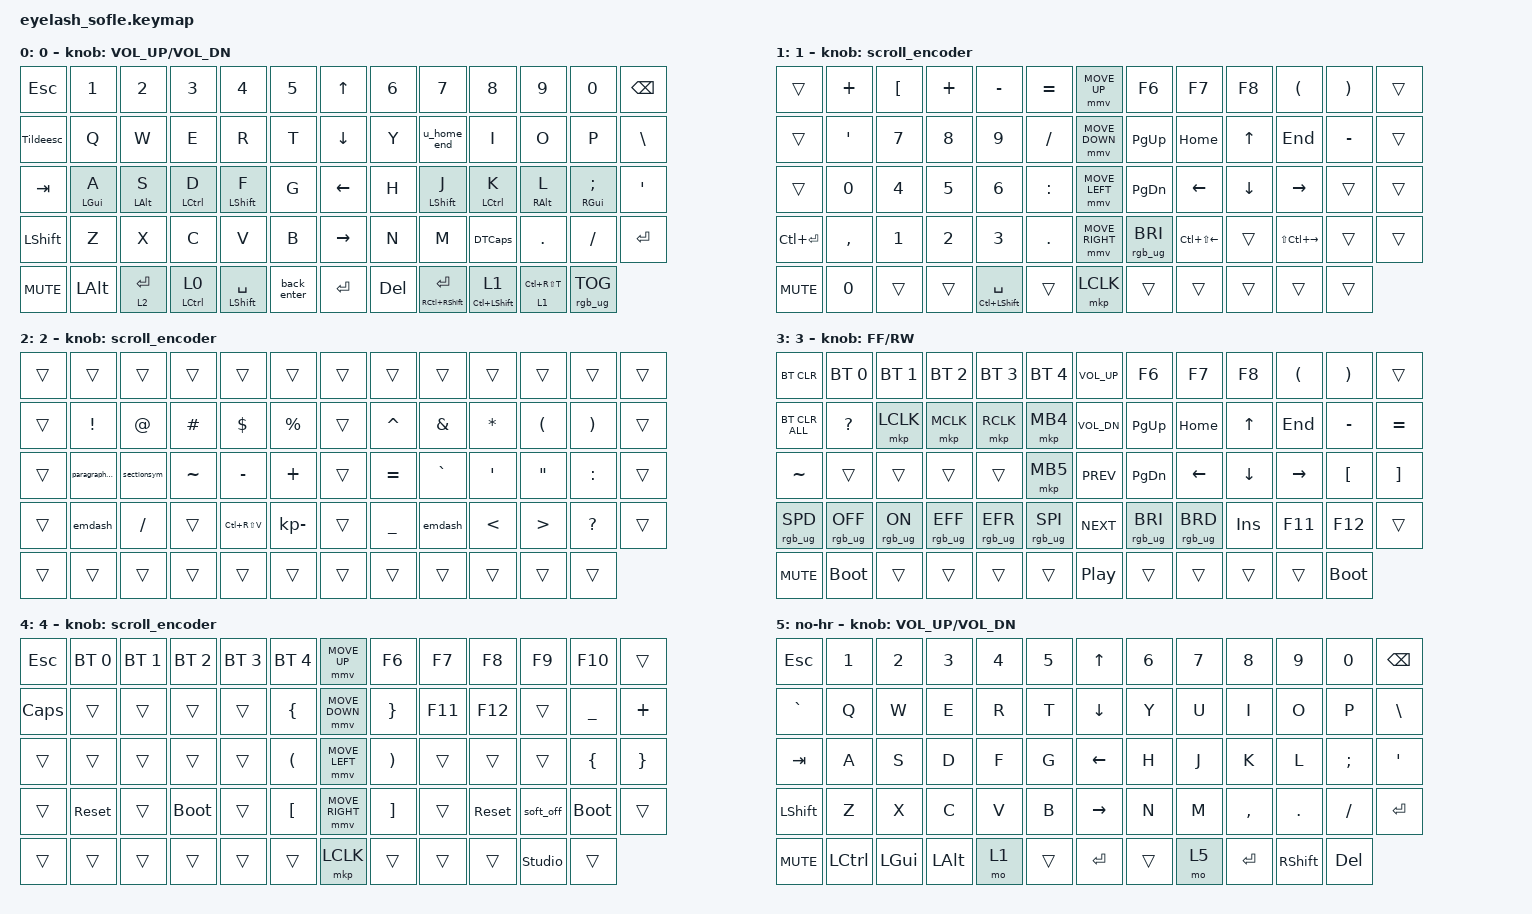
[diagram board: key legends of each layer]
#include <dt-bindings/zmk/mouse.h>
#include <input/processors.dtsi>
#include <behaviors.dtsi>
#include <dt-bindings/zmk/bt.h>
#include <dt-bindings/zmk/keys.h>
#include <dt-bindings/zmk/pointing.h>
#include <dt-bindings/zmk/rgb.h>

/*

   &mmv_input_listener {
       input-processors = <&zip_xy_scaler 2 1>;
   };

   &msc_input_listener {
       input-processors = <&zip_xy_scaler 2 1>;
   };

 */

#define ZMK_MOUSE_DEFAULT_MOVE_VAL 1200  // 600
#define ZMK_MOUSE_DEFAULT_SCRL_VAL 20    // 10

/ {
    behaviors {
        mmv {
            acceleration-exponent = <1>;      // 1
            time-to-max-speed-ms = <900>;    // 40
            delay-ms = <0>;                   // 0
        };

        msc {
            acceleration-exponent = <1>;      // 0
            time-to-max-speed-ms = <400>;      // 500
            delay-ms = <0>;                   //   10
        };
    };

    scroll_encoder: scroll_encoder {
        compatible = "zmk,behavior-sensor-rotate";
        #sensor-binding-cells = <0>;
        bindings = <&msc SCRL_DOWN>, <&msc SCRL_UP>;

        tap-ms = <30>;
    };

    hml: hml {
        compatible = "zmk,behavior-hold-tap";
        label = "HML";
        bindings = <&kp>, <&kp>;

        #binding-cells = <2>;
        tapping-term-ms = <280>;
        quick-tap-ms = <175>;
        require-prior-idle-ms = <150>;
        flavor = "balanced";
        hold-trigger-key-positions = <59 60 46 33 20 7 8 21 8 10 11 12 21 22 23 24 25 34 35 36 37 38 47 48 49 50 51 61 62 63 9>;
        hold-trigger-on-release;
    };

    hmr: hmr {
        compatible = "zmk,behavior-hold-tap";
        label = "HMR";
        bindings = <&kp>, <&kp>;

        #binding-cells = <2>;
        tapping-term-ms = <280>;
        quick-tap-ms = <175>;
        require-prior-idle-ms = <150>;
        flavor = "balanced";
        hold-trigger-key-positions = <0 1 2 3 4 5 13 14 15 16 17 18 26 27 28 29 30 31 39 40 41 42 43 44 53 54 55 56 57 52>;
        hold-trigger-on-release;
    };

    hmmods: hmmods {
        compatible = "zmk,behavior-hold-tap";
        label = "HMMODS";
        bindings = <&kp>, <&kp>;

        #binding-cells = <2>;
        tapping-term-ms = <200>;
        quick-tap-ms = <180>;
        flavor = "tap-preferred";
    };

    hmlayer: hmlayer {
        compatible = "zmk,behavior-hold-tap";
        label = "HMLAYER";
        bindings = <&kp>, <&to>;

        #binding-cells = <2>;
        tapping-term-ms = <200>;
        quick-tap-ms = <180>;
        flavor = "tap-preferred";
    };

    toggle1: toggle1 {
        compatible = "zmk,behavior-toggle-layer";
        label = "TOGGLE1";
        #binding-cells = <1>;
    };

    DTCaps: DTCaps {
        compatible = "zmk,behavior-tap-dance";
        label = "DTCAPS";
        #binding-cells = <0>;
        bindings = <&kp COMMA>, <&caps_word>, <&kp CLCK>;
    };

    DTlayers: DTlayers {
        compatible = "zmk,behavior-tap-dance";
        label = "DTLAYERS";
        #binding-cells = <0>;
        bindings = <&tog 1>, <&tog 2>, <&to 0>;
    };

    brkt: brkt {
        compatible = "zmk,behavior-tap-dance";
        label = "BRKT";
        #binding-cells = <0>;
        bindings = <&kp LEFT_BRACKET>, <&kp RIGHT_BRACKET>;
    };

    paren: paren {
        compatible = "zmk,behavior-tap-dance";
        label = "PAREN";
        #binding-cells = <0>;
        bindings = <&kp LEFT_PARENTHESIS>, <&kp RIGHT_PARENTHESIS>;
    };

    Tildeesc: Tildeesc {
        compatible = "zmk,behavior-tap-dance";
        label = "TILDEESC";
        #binding-cells = <0>;
        bindings = <&kp TILDE>, <&kp ESCAPE>, <&kp LS(LC(ESCAPE))>;
    };

    twolayers: twolayers {
        compatible = "zmk,behavior-hold-tap";
        label = "TWOLAYERS";
        bindings = <&mo>, <&tog>;

        #binding-cells = <2>;
        hold-trigger-key-positions = <61>;
        tapping-term-ms = <100>;
    };

    u_home_end: u_home_end {
        compatible = "zmk,behavior-tap-dance";
        label = "U_HOME_END";
        #binding-cells = <0>;
        bindings = <&kp U>, <&kp HOME>, <&kp END>;
    };

    back_enter: back_enter {
        compatible = "zmk,behavior-tap-dance";
        label = "BACK_ENTER";
        #binding-cells = <0>;
        bindings = <&kp BACKSPACE>, <&kp ENTER>;
    };

    sktog: sktog {
        compatible = "zmk,behavior-hold-tap";
        label = "SKTOG";
        bindings = <&sk>, <&tog>;

        #binding-cells = <2>;
        tapping-term-ms = <200>;
    };

    parasec: parasec {
        compatible = "zmk,behavior-tap-dance";
        label = "PARASEC";
        #binding-cells = <0>;
        bindings = <&paragraphsym>, <&sectionsym>;
    };

    combos {
        compatible = "zmk,combos";

        left_bracket {
            timeout-ms = <50>;
            bindings = <&brkt>;
            key-positions = <43 44>;
        };

        right_bracket {
            timeout-ms = <50>;
            bindings = <&kp RIGHT_BRACKET>;
            key-positions = <46 47>;
        };

        left_paren {
            timeout-ms = <50>;
            bindings = <&paren>;
            key-positions = <30 31>;
        };

        dtlayers {
            timeout-ms = <50>;
            bindings = <&DTlayers>;
            key-positions = <17 18>;
        };

        pipe {
            timeout-ms = <50>;
            bindings = <&kp PIPE>;
            key-positions = <31 33>;
        };

        back_slash {
            timeout-ms = <50>;
            bindings = <&kp BACKSLASH>;
            key-positions = <18 20>;
        };

        layer3 {
            bindings = <&tog 3>;
            key-positions = <55 61>;
        };

        plaintiff {
            bindings = <&plaintiff>;
            key-positions = <14 56>;
        };

        defendant {
            bindings = <&Defendant>;
            key-positions = <15 56>;
        };

        layer0 {
            bindings = <&to 0>;
            key-positions = <56 60>;
        };

        layer1 {
            bindings = <&tog 1>;
            key-positions = <57 59>;
        };

        dash {
            bindings = <&kp MINUS>;
            key-positions = <42 41>;
        };

        capslock {
            bindings = <&kp CLCK>;
            key-positions = <5 4>;
            timeout-ms = <50>;
        };

        emdash {
            bindings = <&emdash>;
            key-positions = <42 56 41>;
        };

        snipping {
            bindings = <&kp LG(LS(S))>;
            key-positions = <28 57>;
        };

        del {
            bindings = <&kp DEL>;
            key-positions = <29 57>;
        };

        specialpaste {
            bindings = <&kp LC(RS(V))>;
            key-positions = <42 43>;
        };

        parasym {
            bindings = <&paragraphsym>;
            key-positions = <56 28 27>;
        };

        sectionsym {
            bindings = <&sectionsym>;
            key-positions = <56 28 29>;
        };

        copy {
            bindings = <&kp K_COPY>;
            key-positions = <42 55>;
        };

        paste {
            bindings = <&kp K_PASTE>;
            key-positions = <55 43>;
        };

        enter {
            bindings = <&kp ENTER>;
            key-positions = <39 56>;
        };

        Ctrl+z {
            bindings = <&kp LC(Z)>;
            key-positions = <40 55>;
        };

        L2 {
            bindings = <&tog 2>;
            key-positions = <21 20>;
            timeout-ms = <50>;
        };

        Lens {
            bindings = <&SearchLens>;
            key-positions = <14 15 16>;
        };

        parasec {
            bindings = <&parasec>;
            key-positions = <33 34>;
        };
    };

    macros {
        paragraphsym: paragraphsym {
            compatible = "zmk,behavior-macro";
            #binding-cells = <0>;
            bindings = <&kt LEFT_ALT &kp KP_NUMBER_0 &kp KP_NUMBER_1 &kp KP_NUMBER_8 &kp KP_NUMBER_2 &kt LALT>;
            label = "paragraphsym";
            tap-ms = <7>;
        };

        sectionsym: sectionsym {
            compatible = "zmk,behavior-macro";
            #binding-cells = <0>;
            bindings = <&kt LEFT_ALT &kp KP_NUMBER_0 &kp KP_NUMBER_1 &kp KP_NUMBER_6 &kp KP_NUMBER_7 &kt LALT>;
            label = "SECTIONSYM";
            tap-ms = <2>;
        };

        emdash: emdash {
            compatible = "zmk,behavior-macro";
            #binding-cells = <0>;
            bindings = <&kt LEFT_ALT &kp KP_NUMBER_0 &kp KP_NUMBER_1 &kp KP_NUMBER_5 &kp KP_NUMBER_1 &kt LALT>;
            label = "EMDASH";
        };

        plaintiff: plaintiff {
            compatible = "zmk,behavior-macro";
            #binding-cells = <0>;
            bindings = <&kp LS(P) &kp L &kp A &kp I &kp N &kp T &kp I &kp F &kp F>;
            label = "PLAINTIFF";
            wait-ms = <0>;
            tap-ms = <5>;
        };

        Defendant: Defendant {
            compatible = "zmk,behavior-macro";
            #binding-cells = <0>;
            bindings = <&kp LS(D) &kp E &kp F &kp E &kp N &kp D &kp A &kp N &kp T>;
            label = "DEFENDANT";
            tap-ms = <2>;
        };

        SearchLens: SearchLens {
            compatible = "zmk,behavior-macro";
            #binding-cells = <0>;
            bindings = <&kp LA(E) &kp S>;
            label = "SEARCHLENS";
        };
    };

    keymap {
        compatible = "zmk,keymap";

        L0 {
            bindings = <
&kp ESC     &kp N1          &kp N2              &kp N3            &kp N4                    &kp N5         &kp UP_ARROW     &kp N6      &kp N7                         &kp N8                   &kp N9               &kp N0                  &kp BACKSPACE
&Tildeesc   &kp Q           &kp W               &kp E             &kp R                     &kp T          &kp DOWN_ARROW   &kp Y       &u_home_end                    &kp I                    &kp O                &kp P                   &kp BSLH
&kp TAB     &hmmods LGUI A  &hmmods LEFT_ALT S  &hmmods LCTRL D   &hmmods LEFT_SHIFT F      &kp G          &kp LEFT_ARROW   &kp H       &hmmods LEFT_SHIFT J           &hmmods LCTRL K          &hmmods RIGHT_ALT L  &hmmods RIGHT_GUI SEMI  &kp APOS
&kp LSHFT   &kp Z           &kp X               &kp C             &kp V                     &kp B          &kp RIGHT_ARROW  &kp N       &kp M                          &DTCaps                  &kp DOT              &kp FSLH                &kp ENTER
&kp C_MUTE  &kp LEFT_ALT    &lt 2 ENTER         &hmlayer LCTRL 0  &hmmods LEFT_SHIFT SPACE  &back_enter    &kp ENTER        &kp DELETE  &hmmods RC(RIGHT_SHIFT) ENTER  &sktog LC(LEFT_SHIFT) 1  &lt 1 LC(RS(T))      &rgb_ug RGB_TOG
            >;

            display-name = "0";
            sensor-bindings = <&inc_dec_kp C_VOLUME_UP C_VOL_DN>;
        };

        L1-num-nav {
            bindings = <
&trans         &kp PLUS   &kp LEFT_BRACKET  &kp PLUS  &kp MINUS                  &kp EQUAL    &mmv MOVE_UP     &kp F6           &kp F7                  &kp F8    &kp LPAR           &kp RPAR   &trans
&trans         &kp SQT    &kp N7            &kp N8    &kp N9                     &kp SLASH    &mmv MOVE_DOWN   &kp PG_UP        &kp HOME                &kp UP    &kp END            &kp MINUS  &trans
&trans         &kp N0     &kp N4            &kp N5    &kp N6                     &kp COLON    &mmv MOVE_LEFT   &kp PG_DN        &kp LEFT                &kp DOWN  &kp RIGHT          &trans     &trans
&kp LC(ENTER)  &kp COMMA  &kp N1            &kp N2    &kp N3                     &kp DOT      &mmv MOVE_RIGHT  &rgb_ug RGB_BRI  &kp LC(LS(LEFT_ARROW))  &trans    &kp LS(LC(RIGHT))  &trans     &trans
&kp C_MUTE     &kp N0     &trans            &trans    &hmr LC(LEFT_SHIFT) SPACE  &trans       &mkp LCLK        &trans           &trans                  &trans    &trans             &trans
            >;

            display-name = "1";
            sensor-bindings = <&scroll_encoder>;
        };

        L2_symbols {
            display-name = "2";
            bindings = <
&trans  &trans         &trans       &trans     &trans         &trans          &trans  &trans          &trans     &trans            &trans             &trans        &trans
&trans  &kp EXCL       &kp AT       &kp POUND  &kp DLLR       &kp PERCENT     &trans  &kp CARET       &kp AMPS   &kp STAR          &kp LPAR           &kp RPAR      &trans
&trans  &paragraphsym  &sectionsym  &kp TILDE  &kp MINUS      &kp PLUS        &trans  &kp EQUAL       &kp GRAVE  &kp SINGLE_QUOTE  &kp DOUBLE_QUOTES  &kp COLON     &trans
&trans  &emdash        &kp SLASH    &trans     &kp LC(RS(V))  &kp KP_MINUS    &trans  &kp UNDERSCORE  &emdash    &kp LESS_THAN     &kp GREATER_THAN   &kp QUESTION  &trans
&trans  &trans         &trans       &trans     &trans         &trans          &trans  &trans          &trans     &trans            &trans             &trans
            >;

            sensor-bindings = <&scroll_encoder>;
        };

        bt-rgb-media {
            display-name = "3";
            bindings = <
&bt BT_CLR       &bt BT_SEL 0     &bt BT_SEL 1    &bt BT_SEL 2     &bt BT_SEL 3     &bt BT_SEL 4       &kp C_VOL_UP      &kp F6           &kp F7           &kp F8      &kp LPAR   &kp RPAR          &trans
&bt BT_CLR_ALL   &kp QMARK        &mkp LCLK       &mkp MCLK        &mkp RCLK        &mkp MB4           &kp C_VOL_DN      &kp PG_UP        &kp HOME         &kp UP      &kp END    &kp MINUS         &kp EQUAL
&kp TILDE        &trans           &trans          &trans           &trans           &mkp MB5           &kp C_PREV        &kp PG_DN        &kp LEFT         &kp DOWN    &kp RIGHT  &kp LEFT_BRACKET  &kp RIGHT_BRACKET
&rgb_ug RGB_SPD  &rgb_ug RGB_OFF  &rgb_ug RGB_ON  &rgb_ug RGB_EFF  &rgb_ug RGB_EFR  &rgb_ug RGB_SPI    &kp C_NEXT        &rgb_ug RGB_BRI  &rgb_ug RGB_BRD  &kp INSERT  &kp F11    &kp F12           &trans
&kp C_MUTE       &bootloader      &trans          &trans           &trans           &trans             &kp C_PLAY_PAUSE  &trans           &trans           &trans      &trans     &bootloader
            >;

            sensor-bindings = <&inc_dec_kp C_FF C_RW>;
        };

        L4 {
            bindings = <
&kp ESC   &bt BT_SEL 0  &bt BT_SEL 1  &bt BT_SEL 2  &bt BT_SEL 3  &bt BT_SEL 4            &mmv MOVE_UP     &kp F6                 &kp F7   &kp F8      &kp F9          &kp F10      &trans
&kp CAPS  &trans        &trans        &trans        &trans        &kp LEFT_BRACE          &mmv MOVE_DOWN   &kp RIGHT_BRACE        &kp F11  &kp F12     &trans          &kp UNDER    &kp PLUS
&trans    &trans        &trans        &trans        &trans        &kp LEFT_PARENTHESIS    &mmv MOVE_LEFT   &kp RIGHT_PARENTHESIS  &trans   &trans      &trans          &kp LBRC     &kp RBRC
&trans    &sys_reset    &trans        &bootloader   &trans        &kp LEFT_BRACKET        &mmv MOVE_RIGHT  &kp RIGHT_BRACKET      &trans   &sys_reset  &soft_off       &bootloader  &trans
&trans    &trans        &trans        &trans        &trans        &trans                  &mkp LCLK        &trans                 &trans   &trans      &studio_unlock  &trans
            >;

            display-name = "4";
            sensor-bindings = <&scroll_encoder>;
        };

        no-hr {
            bindings = <
&kp ESC     &kp N1     &kp N2        &kp N3        &kp N4  &kp N5    &kp UP_ARROW     &kp N6  &kp N7  &kp N8     &kp N9           &kp N0      &kp BACKSPACE
&kp GRAVE   &kp Q      &kp W         &kp E         &kp R   &kp T     &kp DOWN_ARROW   &kp Y   &kp U   &kp I      &kp O            &kp P       &kp BSLH
&kp TAB     &kp A      &kp S         &kp D         &kp F   &kp G     &kp LEFT_ARROW   &kp H   &kp J   &kp K      &kp L            &kp SEMI    &kp APOS
&kp LSHFT   &kp Z      &kp X         &kp C         &kp V   &kp B     &kp RIGHT_ARROW  &kp N   &kp M   &kp COMMA  &kp DOT          &kp FSLH    &kp ENTER
&kp C_MUTE  &kp LCTRL  &kp LEFT_GUI  &kp LEFT_ALT  &mo 1   &trans    &kp ENTER        &trans  &mo 5   &kp ENTER  &kp RIGHT_SHIFT  &kp DELETE
            >;

            sensor-bindings = <&inc_dec_kp C_VOLUME_UP C_VOL_DN>;
            display-name = "no-hr";
        };
    };

    conditional_layers { compatible = "zmk,conditional-layers"; };
};
